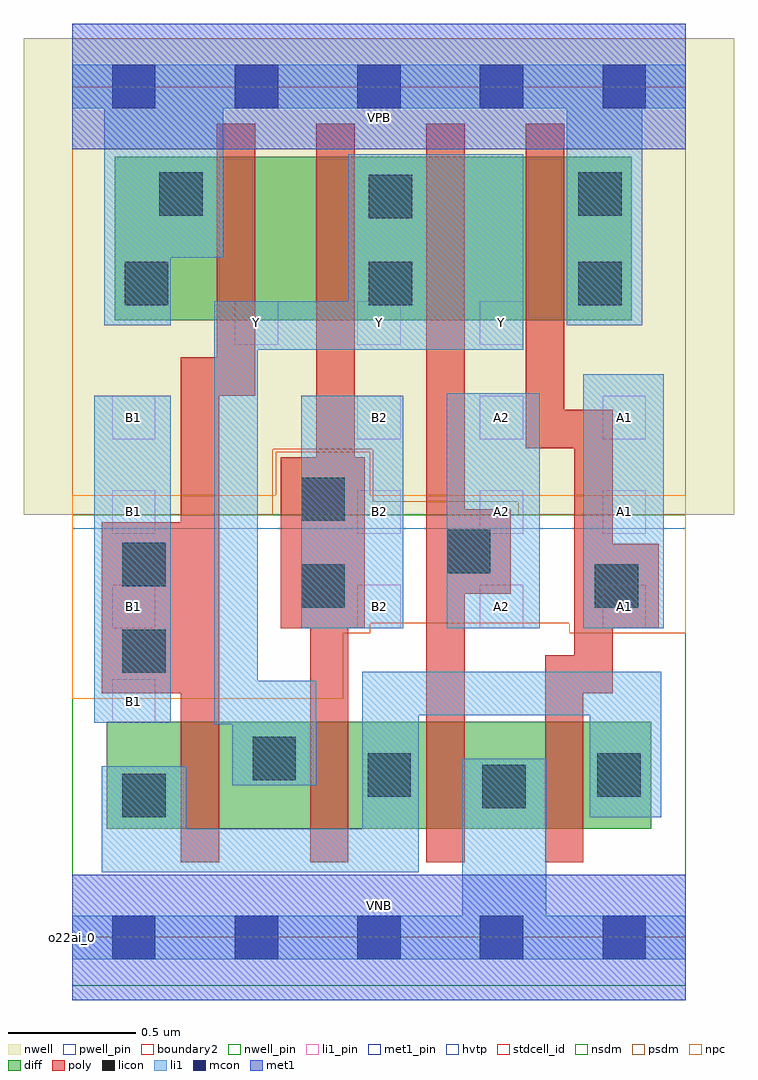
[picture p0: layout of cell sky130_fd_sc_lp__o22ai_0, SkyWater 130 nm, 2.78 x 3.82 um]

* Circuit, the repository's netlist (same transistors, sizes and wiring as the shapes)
* Copyright 2020 The SkyWater PDK Authors
*
* Licensed under the Apache License, Version 2.0 (the "License");
* you may not use this file except in compliance with the License.
* You may obtain a copy of the License at
*
*     https://www.apache.org/licenses/LICENSE-2.0
*
* Unless required by applicable law or agreed to in writing, software
* distributed under the License is distributed on an "AS IS" BASIS,
* WITHOUT WARRANTIES OR CONDITIONS OF ANY KIND, either express or implied.
* See the License for the specific language governing permissions and
* limitations under the License.
*
* SPDX-License-Identifier: Apache-2.0

.SUBCKT sky130_fd_sc_lp__o22ai_0 A1 A2 B1 B2 VGND VNB VPB VPWR Y
*.PININFO A1:I A2:I B1:I B2:I VGND:I VNB:I VPB:I VPWR:I Y:O
MMPA0 VPWR A1 sndA1 VPB sky130_fd_pr__pfet_01v8_hvt m=1 w=0.64U l=0.15U mult=1
+ sa=0.265 sb=0.265 sd=0.28 area=0.063 perim=1.14
MMPA1 sndA1 A2 Y VPB sky130_fd_pr__pfet_01v8_hvt m=1 w=0.64U l=0.15U mult=1 sa=0.265
+ sb=0.265 sd=0.28 area=0.063 perim=1.14
MMPB0 VPWR B1 sndB1 VPB sky130_fd_pr__pfet_01v8_hvt m=1 w=0.64U l=0.15U mult=1
+ sa=0.265 sb=0.265 sd=0.28 area=0.063 perim=1.14
MMPB1 sndB1 B2 Y VPB sky130_fd_pr__pfet_01v8_hvt m=1 w=0.64U l=0.15U mult=1 sa=0.265
+ sb=0.265 sd=0.28 area=0.063 perim=1.14
MMNA0 pndA A1 VGND VNB sky130_fd_pr__nfet_01v8 m=1 w=0.42U l=0.15U mult=1 sa=0.265
+ sb=0.265 sd=0.28 area=0.063 perim=1.14
MMNA1 pndA A2 VGND VNB sky130_fd_pr__nfet_01v8 m=1 w=0.42U l=0.15U mult=1 sa=0.265
+ sb=0.265 sd=0.28 area=0.063 perim=1.14
MMNB0 Y B1 pndA VNB sky130_fd_pr__nfet_01v8 m=1 w=0.42U l=0.15U mult=1 sa=0.265
+ sb=0.265 sd=0.28 area=0.063 perim=1.14
MMNB1 Y B2 pndA VNB sky130_fd_pr__nfet_01v8 m=1 w=0.42U l=0.15U mult=1 sa=0.265
+ sb=0.265 sd=0.28 area=0.063 perim=1.14
.ENDS sky130_fd_sc_lp__o22ai_0

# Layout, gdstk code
import gdstk
lib = gdstk.Library(unit=1e-6, precision=1e-09)
def R(c, l, rs):  # rectangles x0, y0, x1, y1
    for r in rs: c.add(gdstk.rectangle(r[:2], r[2:], *l))
def A(c, l, x, y, w, h, nx, ny, dx, dy):  # array of equal rectangles
    R(c, l, [(x+i*dx, y+j*dy, x+i*dx+w, y+j*dy+h) for i in range(nx) for j in range(ny)])
def P(c, l, *ps):  # polygons
    for p in ps: c.add(gdstk.Polygon(p, *l))
nwell_pin = (64, 16)
nwell = (64, 20)
diff = (65, 20)
poly = (66, 20)
licon = (66, 44)
li1_pin = (67, 16)
li1 = (67, 20)
mcon = (67, 44)
met1_pin = (68, 16)
met1 = (68, 20)
hvtp = (78, 44)
stdcell_id = (81, 4)
nsdm = (93, 44)
psdm = (94, 20)
npc = (95, 20)
pwell_pin = (122, 16)
boundary2 = (236, 0)

sky130_fd_sc_lp__o22ai_0 = lib.new_cell('sky130_fd_sc_lp__o22ai_0')
R(sky130_fd_sc_lp__o22ai_0, nwell_pin, [(0,3.085,2.4,3.33)])
R(sky130_fd_sc_lp__o22ai_0, nwell, [(-0.19,1.655,2.59,3.52)])
R(sky130_fd_sc_lp__o22ai_0, diff, [(0.135,0.425,2.265,0.845), (0.165,2.415,2.19,3.055)])
P(sky130_fd_sc_lp__o22ai_0, poly, [(0.715,3.185),(0.565,3.185),(0.565,2.27),(0.425,2.27),(0.425,1.625),(0.115,1.625),(0.115,0.955),(0.425,0.955),(0.425,0.295),(0.575,0.295),(0.575,2.12),(0.715,2.12)],
  [(1.145,1.88),(1.105,1.88),(1.105,3.185),(0.955,3.185),(0.955,1.88),(0.815,1.88),(0.815,1.21),(0.93,1.21),(0.93,0.295),(1.08,0.295),(1.08,1.21),(1.145,1.21)],
  [(1.715,1.675),(1.535,1.675),(1.535,3.185),(1.385,3.185),(1.385,0.295),(1.535,0.295),(1.535,1.345),(1.715,1.345)],
  [(2.295,1.54),(2.115,1.54),(2.115,2.065),(1.925,2.065),(1.925,3.185),(1.775,3.185),(1.775,1.915),(1.965,1.915),(1.965,1.105),(1.85,1.105),(1.85,0.295),(2,0.295),(2,0.955),(2.115,0.955),(2.115,1.21),(2.295,1.21)])
R(sky130_fd_sc_lp__o22ai_0, licon, [(0.195,0.47,0.365,0.64), (1.605,0.505,1.775,0.675), (1.155,0.55,1.325,0.72), (2.055,0.55,2.225,0.72), (0.705,0.615,0.875,0.785), (0.195,1.035,0.365,1.205), (0.895,1.29,1.065,1.46), (2.045,1.29,2.215,1.46), (0.195,1.375,0.365,1.545), (1.465,1.425,1.635,1.595), (0.895,1.63,1.065,1.8), (0.205,2.475,0.375,2.645), (1.16,2.475,1.33,2.645), (1.98,2.475,2.15,2.645), (1.16,2.815,1.33,2.985), (0.34,2.825,0.51,2.995), (1.98,2.825,2.15,2.995)])
A(sky130_fd_sc_lp__o22ai_0, li1_pin, 0.155, 0.84, 0.17, 0.17, 1, 4, 0, 0.37)
A(sky130_fd_sc_lp__o22ai_0, li1_pin, 1.115, 1.21, 0.17, 0.17, 3, 3, 0.48, 0.37)
A(sky130_fd_sc_lp__o22ai_0, li1_pin, 0.635, 2.32, 0.17, 0.17, 3, 1, 0.48, 0)
R(sky130_fd_sc_lp__o22ai_0, li1, [(0.085,0.84,0.385,2.12), (0.895,1.21,1.295,2.12), (1.465,1.21,1.83,2.13), (2,1.21,2.315,2.205)])
P(sky130_fd_sc_lp__o22ai_0, li1, [(1.525,0.085),(1.525,0.7),(1.855,0.7),(1.855,0.085),(2.4,0.085),(2.4,-0.085),(0,-0.085),(0,0.085)],
  [(1.08,2.49),(1.08,3.065),(1.765,3.065),(1.765,2.3),(0.725,2.3),(0.725,1.005),(0.955,1.005),(0.955,0.595),(0.625,0.595),(0.625,0.835),(0.555,0.835),(0.555,2.49)],
  [(1.135,0.425),(1.135,1.04),(2.305,1.04),(2.305,0.47),(2.025,0.47),(2.025,0.87),(1.355,0.87),(1.355,0.255),(0.115,0.255),(0.115,0.67),(0.445,0.67),(0.445,0.425)],
  [(2.4,3.415),(0,3.415),(0,3.245),(0.125,3.245),(0.125,2.395),(0.385,2.395),(0.385,2.66),(0.59,2.66),(0.59,3.245),(1.935,3.245),(1.935,2.395),(2.23,2.395),(2.23,3.245),(2.4,3.245)])
A(sky130_fd_sc_lp__o22ai_0, mcon, 0.155, -0.085, 0.17, 0.17, 5, 2, 0.48, 3.33)
R(sky130_fd_sc_lp__o22ai_0, met1_pin, [(0,0,2.4,0.245), (0,3.085,2.4,3.33)])
R(sky130_fd_sc_lp__o22ai_0, met1, [(0,-0.245,2.4,0.245), (0,3.085,2.4,3.575)])
R(sky130_fd_sc_lp__o22ai_0, hvtp, [(0,1.6,2.4,3.33)])
R(sky130_fd_sc_lp__o22ai_0, stdcell_id, [(0,0,2.4,3.33)])
R(sky130_fd_sc_lp__o22ai_0, nsdm, [(0,-0.19,2.4,1.655)])
P(sky130_fd_sc_lp__o22ai_0, psdm, [(2.4,3.52),(0,3.52),(0,1.655),(0.785,1.655),(0.785,1.91),(1.175,1.91),(1.175,1.705),(1.745,1.705),(1.745,1.655),(2.4,1.655)])
P(sky130_fd_sc_lp__o22ai_0, npc, [(2.4,1.73),(1.165,1.73),(1.165,1.9),(0.795,1.9),(0.795,1.73),(0,1.73),(0,0.935),(1.06,0.935),(1.06,1.19),(1.165,1.19),(1.165,1.23),(1.945,1.23),(1.945,1.19),(2.4,1.19)])
R(sky130_fd_sc_lp__o22ai_0, pwell_pin, [(0,0,2.4,0.245)])
R(sky130_fd_sc_lp__o22ai_0, boundary2, [(0,0,2.4,3.33)])
sky130_fd_sc_lp__o22ai_0.add(gdstk.Label('VNB', (1.2,0.123), layer=64, texttype=59))
sky130_fd_sc_lp__o22ai_0.add(gdstk.Label('VPB', (1.2,3.208), layer=64, texttype=5))
sky130_fd_sc_lp__o22ai_0.add(gdstk.Label('o22ai_0', (0,0), layer=83, texttype=44))
sky130_fd_sc_lp__o22ai_0.add(gdstk.Label('VPWR', (1.2,3.208), layer=68, texttype=5))
sky130_fd_sc_lp__o22ai_0.add(gdstk.Label('VGND', (1.2,0.123), layer=68, texttype=5))
sky130_fd_sc_lp__o22ai_0.add(gdstk.Label('A1', (2.16,1.295), layer=67, texttype=5))
sky130_fd_sc_lp__o22ai_0.add(gdstk.Label('A1', (2.16,1.665), layer=67, texttype=5))
sky130_fd_sc_lp__o22ai_0.add(gdstk.Label('A1', (2.16,2.035), layer=67, texttype=5))
sky130_fd_sc_lp__o22ai_0.add(gdstk.Label('A2', (1.68,1.295), layer=67, texttype=5))
sky130_fd_sc_lp__o22ai_0.add(gdstk.Label('A2', (1.68,1.665), layer=67, texttype=5))
sky130_fd_sc_lp__o22ai_0.add(gdstk.Label('A2', (1.68,2.035), layer=67, texttype=5))
sky130_fd_sc_lp__o22ai_0.add(gdstk.Label('Y', (0.72,2.405), layer=67, texttype=5))
sky130_fd_sc_lp__o22ai_0.add(gdstk.Label('Y', (1.2,2.405), layer=67, texttype=5))
sky130_fd_sc_lp__o22ai_0.add(gdstk.Label('Y', (1.68,2.405), layer=67, texttype=5))
sky130_fd_sc_lp__o22ai_0.add(gdstk.Label('B1', (0.24,0.925), layer=67, texttype=5))
sky130_fd_sc_lp__o22ai_0.add(gdstk.Label('B1', (0.24,1.295), layer=67, texttype=5))
sky130_fd_sc_lp__o22ai_0.add(gdstk.Label('B1', (0.24,1.665), layer=67, texttype=5))
sky130_fd_sc_lp__o22ai_0.add(gdstk.Label('B1', (0.24,2.035), layer=67, texttype=5))
sky130_fd_sc_lp__o22ai_0.add(gdstk.Label('B2', (1.2,1.295), layer=67, texttype=5))
sky130_fd_sc_lp__o22ai_0.add(gdstk.Label('B2', (1.2,1.665), layer=67, texttype=5))
sky130_fd_sc_lp__o22ai_0.add(gdstk.Label('B2', (1.2,2.035), layer=67, texttype=5))

lib.write_gds('sky130_fd_sc_lp__o22ai_0.gds')
